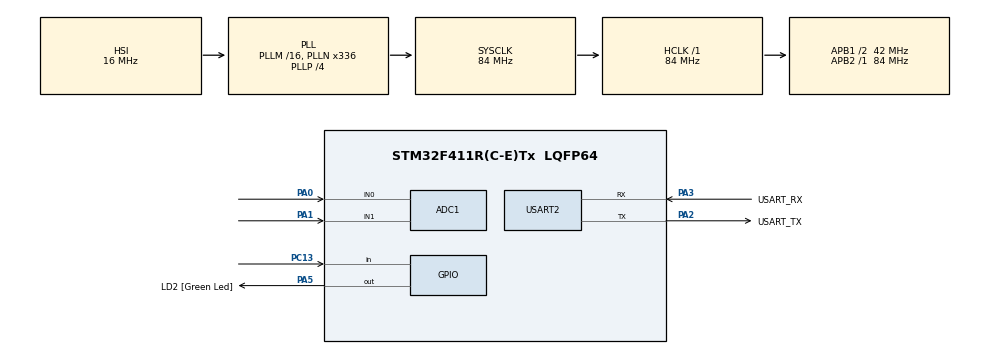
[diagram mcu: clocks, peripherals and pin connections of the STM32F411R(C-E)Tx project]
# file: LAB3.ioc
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ADC1.Channel-0\#ChannelRegularConversion=ADC_CHANNEL_0
ADC1.NbrOfConversionFlag=1
ADC1.Rank-0\#ChannelRegularConversion=1
ADC1.SamplingTime-0\#ChannelRegularConversion=ADC_SAMPLETIME_3CYCLES
ADC1.master=1
Mcu.Family=STM32F4
Mcu.Name=STM32F411R(C-E)Tx
Mcu.Package=LQFP64
NVIC.PriorityGroup=NVIC_PRIORITYGROUP_0
PA0-WKUP.Signal=ADCx_IN0
PA1.Signal=ADCx_IN1
PA13.GPIO_Label=TMS
PA13.Mode=Serial_Wire
PA13.Signal=SYS_JTMS-SWDIO
PA14.GPIO_Label=TCK
PA14.Mode=Serial_Wire
PA14.Signal=SYS_JTCK-SWCLK
PA2.GPIO_Label=USART_TX
PA2.Mode=Asynchronous
PA2.Signal=USART2_TX
PA3.GPIO_Label=USART_RX
PA3.Mode=Asynchronous
PA3.Signal=USART2_RX
PA5.GPIO_Label=LD2 [Green Led]
PA5.Signal=GPIO_Output
PB3.GPIO_Label=SWO
PB3.Signal=SYS_JTDO-SWO
PC13-ANTI_TAMP.Signal=GPIO_Input
PC14-OSC32_IN.Mode=LSE-External-Oscillator
PC14-OSC32_IN.Signal=RCC_OSC32_IN
PC15-OSC32_OUT.Mode=LSE-External-Oscillator
PC15-OSC32_OUT.Signal=RCC_OSC32_OUT
PH0\ -\ OSC_IN.Mode=HSE-External-Clock-Source
PH0\ -\ OSC_IN.Signal=RCC_OSC_IN
PH1\ -\ OSC_OUT.Mode=HSE-External-Clock-Source
PH1\ -\ OSC_OUT.Signal=RCC_OSC_OUT
ProjectManager.HeapSize=0x200
ProjectManager.StackSize=0x400
ProjectManager.TargetToolchain=STM32CubeIDE
RCC.48MHZClocksFreq_Value=84000000
RCC.AHBFreq_Value=84000000
RCC.APB1CLKDivider=RCC_HCLK_DIV2
RCC.APB1Freq_Value=42000000
RCC.APB1TimFreq_Value=84000000
RCC.APB2Freq_Value=84000000
RCC.APB2TimFreq_Value=84000000
RCC.CortexFreq_Value=84000000
RCC.FLatency-AdvancedSettings=FLASH_LATENCY_2
RCC.HCLKFreq_Value=84000000
RCC.HSE_VALUE=8000000
RCC.HSI_VALUE=16000000
RCC.PLLN=336
RCC.PLLP=RCC_PLLP_DIV4
RCC.SYSCLKFreq_VALUE=84000000
RCC.SYSCLKSource=RCC_SYSCLKSOURCE_PLLCLK
RCC.VCOOutputFreq_Value=336000000
SH.ADCx_IN0.0=ADC1_IN0,IN0
SH.ADCx_IN1.0=ADC1_IN1,IN1
USART2.VirtualMode=VM_ASYNC
VP_ADC1_TempSens_Input.Mode=IN-TempSens
board=NUCLEO-F411RE

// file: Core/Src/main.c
/* USER CODE BEGIN Header */
/**
  ******************************************************************************
  * @file           : main.c
  * @brief          : Main program body
  ******************************************************************************
  * @attention
  *
  * <h2><center>&copy; Copyright (c) 2021 STMicroelectronics.
  * All rights reserved.</center></h2>
  *
  * This software component is licensed by ST under BSD 3-Clause license,
  * the "License"; You may not use this file except in compliance with the
  * License. You may obtain a copy of the License at:
  *                        opensource.org/licenses/BSD-3-Clause
  *
  ******************************************************************************
  */
/* USER CODE END Header */
#include "main.h"

ADC_HandleTypeDef hadc1;

UART_HandleTypeDef huart2;

/* USER CODE BEGIN PV */
uint16_t adcdata[2] = { 0 };

typedef struct {
	ADC_ChannelConfTypeDef Config;
	uint16_t data;
} ADCStructure;

ADCStructure ADCChannel[3] = { 0 };

float ADCOutputConverted = 0;
uint32_t ADCMode = 0;
GPIO_PinState ButtonState[2];

/* USER CODE END PV */

void SystemClock_Config(void);
static void MX_GPIO_Init(void);
static void MX_USART2_UART_Init(void);
static void MX_ADC1_Init(void);

int main(void)
{

  /* MCU Configuration--------------------------------------------------------*/

  /* Reset of all peripherals, Initializes the Flash interface and the Systick. */
  HAL_Init();

  /* Configure the system clock */
  SystemClock_Config();

  /* Initialize all configured peripherals */
  MX_GPIO_Init();
  MX_USART2_UART_Init();
  MX_ADC1_Init();
  /* USER CODE BEGIN 2 */
	ADCPollingMethodInit();
  /* USER CODE END 2 */

  /* Infinite loop */
  while (1)
  {

    /* USER CODE BEGIN 3 */
	  ADCPollingMethodUpdate();
	  ButtonState[0]= HAL_GPIO_ReadPin(GPIOC, GPIO_PIN_13);
	  if(ButtonState[0]== GPIO_PIN_SET && ButtonState[1]==GPIO_PIN_RESET)
	  {
		if(ADCMode == 0)
		{
			ADCMode = 1;
		}
		else
		{
			ADCMode = 0;
		}

	  }

	  if(ADCMode == 0)
	  {
		  ADCOutputConverted = (ADCChannel[0].data)/(4.096e3)*(3.3e3);

	  }
	  else
	  {
		  ADCOutputConverted = ((((ADCChannel[2].data)/(4.096e3)*(3.3))-0.76)/(2.5/1000))+25;
	  }
	  ButtonState[1]=ButtonState[0];
  }
  /* USER CODE END 3 */
}

void SystemClock_Config(void)
{
  RCC_OscInitTypeDef RCC_OscInitStruct = {0};
  RCC_ClkInitTypeDef RCC_ClkInitStruct = {0};

  /** Configure the main internal regulator output voltage
  */
  __HAL_RCC_PWR_CLK_ENABLE();
  __HAL_PWR_VOLTAGESCALING_CONFIG(PWR_REGULATOR_VOLTAGE_SCALE1);
  /** Initializes the RCC Oscillators according to the specified parameters
  * in the RCC_OscInitTypeDef structure.
  */
  RCC_OscInitStruct.OscillatorType = RCC_OSCILLATORTYPE_HSI;
  RCC_OscInitStruct.HSIState = RCC_HSI_ON;
  RCC_OscInitStruct.HSICalibrationValue = RCC_HSICALIBRATION_DEFAULT;
  RCC_OscInitStruct.PLL.PLLState = RCC_PLL_ON;
  RCC_OscInitStruct.PLL.PLLSource = RCC_PLLSOURCE_HSI;
  RCC_OscInitStruct.PLL.PLLM = 16;
  RCC_OscInitStruct.PLL.PLLN = 336;
  RCC_OscInitStruct.PLL.PLLP = RCC_PLLP_DIV4;
  RCC_OscInitStruct.PLL.PLLQ = 4;
  if (HAL_RCC_OscConfig(&RCC_OscInitStruct) != HAL_OK)
  {
    Error_Handler();
  }
  /** Initializes the CPU, AHB and APB buses clocks
  */
  RCC_ClkInitStruct.ClockType = RCC_CLOCKTYPE_HCLK|RCC_CLOCKTYPE_SYSCLK
                              |RCC_CLOCKTYPE_PCLK1|RCC_CLOCKTYPE_PCLK2;
  RCC_ClkInitStruct.SYSCLKSource = RCC_SYSCLKSOURCE_PLLCLK;
  RCC_ClkInitStruct.AHBCLKDivider = RCC_SYSCLK_DIV1;
  RCC_ClkInitStruct.APB1CLKDivider = RCC_HCLK_DIV2;
  RCC_ClkInitStruct.APB2CLKDivider = RCC_HCLK_DIV1;

  if (HAL_RCC_ClockConfig(&RCC_ClkInitStruct, FLASH_LATENCY_2) != HAL_OK)
  {
    Error_Handler();
  }
}

static void MX_ADC1_Init(void)
{

  ADC_ChannelConfTypeDef sConfig = {0};

  /** Configure the global features of the ADC (Clock, Resolution, Data Alignment and number of conversion)
  */
  hadc1.Instance = ADC1;
  hadc1.Init.ClockPrescaler = ADC_CLOCK_SYNC_PCLK_DIV4;
  hadc1.Init.Resolution = ADC_RESOLUTION_12B;
  hadc1.Init.ScanConvMode = DISABLE;
  hadc1.Init.ContinuousConvMode = DISABLE;
  hadc1.Init.DiscontinuousConvMode = DISABLE;
  hadc1.Init.ExternalTrigConvEdge = ADC_EXTERNALTRIGCONVEDGE_NONE;
  hadc1.Init.ExternalTrigConv = ADC_SOFTWARE_START;
  hadc1.Init.DataAlign = ADC_DATAALIGN_RIGHT;
  hadc1.Init.NbrOfConversion = 1;
  hadc1.Init.DMAContinuousRequests = DISABLE;
  hadc1.Init.EOCSelection = ADC_EOC_SINGLE_CONV;
  if (HAL_ADC_Init(&hadc1) != HAL_OK)
  {
    Error_Handler();
  }
  /** Configure for the selected ADC regular channel its corresponding rank in the sequencer and its sample time.
  */
  sConfig.Channel = ADC_CHANNEL_0;
  sConfig.Rank = 1;
  sConfig.SamplingTime = ADC_SAMPLETIME_3CYCLES;
  if (HAL_ADC_ConfigChannel(&hadc1, &sConfig) != HAL_OK)
  {
    Error_Handler();
  }

}

static void MX_USART2_UART_Init(void)
{

  huart2.Instance = USART2;
  huart2.Init.BaudRate = 115200;
  huart2.Init.WordLength = UART_WORDLENGTH_8B;
  huart2.Init.StopBits = UART_STOPBITS_1;
  huart2.Init.Parity = UART_PARITY_NONE;
  huart2.Init.Mode = UART_MODE_TX_RX;
  huart2.Init.HwFlowCtl = UART_HWCONTROL_NONE;
  huart2.Init.OverSampling = UART_OVERSAMPLING_16;
  if (HAL_UART_Init(&huart2) != HAL_OK)
  {
    Error_Handler();
  }

}

static void MX_GPIO_Init(void)
{
  GPIO_InitTypeDef GPIO_InitStruct = {0};

  /* GPIO Ports Clock Enable */
  __HAL_RCC_GPIOC_CLK_ENABLE();
  __HAL_RCC_GPIOH_CLK_ENABLE();
  __HAL_RCC_GPIOA_CLK_ENABLE();
  __HAL_RCC_GPIOB_CLK_ENABLE();

  /*Configure GPIO pin Output Level */
  HAL_GPIO_WritePin(LD2_GPIO_Port, LD2_Pin, GPIO_PIN_RESET);

  /*Configure GPIO pin : PC13 */
  GPIO_InitStruct.Pin = GPIO_PIN_13;
  GPIO_InitStruct.Mode = GPIO_MODE_INPUT;
  GPIO_InitStruct.Pull = GPIO_NOPULL;
  HAL_GPIO_Init(GPIOC, &GPIO_InitStruct);

  /*Configure GPIO pin : LD2_Pin */
  GPIO_InitStruct.Pin = LD2_Pin;
  GPIO_InitStruct.Mode = GPIO_MODE_OUTPUT_PP;
  GPIO_InitStruct.Pull = GPIO_NOPULL;
  GPIO_InitStruct.Speed = GPIO_SPEED_FREQ_LOW;
  HAL_GPIO_Init(LD2_GPIO_Port, &GPIO_InitStruct);

}

/* USER CODE BEGIN 4 */
void ADCPollingMethodInit() {
	//config all ADC Channel
	ADCChannel[0].Config.Channel = ADC_CHANNEL_0;
	ADCChannel[0].Config.Rank = 1;
	ADCChannel[0].Config.SamplingTime = ADC_SAMPLETIME_3CYCLES;

	ADCChannel[1].Config.Channel = ADC_CHANNEL_1;
	ADCChannel[1].Config.Rank = 1;
	ADCChannel[1].Config.SamplingTime = ADC_SAMPLETIME_3CYCLES;

	ADCChannel[2].Config.Channel = ADC_CHANNEL_TEMPSENSOR;
	ADCChannel[2].Config.Rank = 1;
	ADCChannel[2].Config.SamplingTime = ADC_SAMPLETIME_3CYCLES;
}
//Polling Method
void ADCPollingMethodUpdate() {
	//Read all 3 Channel
	for (int i = 0; i < 3; i++) {
		HAL_ADC_ConfigChannel(&hadc1, &ADCChannel[i].Config);
		HAL_ADC_Start(&hadc1);
		HAL_ADC_PollForConversion(&hadc1, 10);
		ADCChannel[i].data = HAL_ADC_GetValue(&hadc1);
		HAL_ADC_Stop(&hadc1);
	}
}
/* USER CODE END 4 */

void Error_Handler(void)
{
  __disable_irq();
  while (1)
  {
  }
}

/************************ (C) COPYRIGHT STMicroelectronics *****END OF FILE****/
